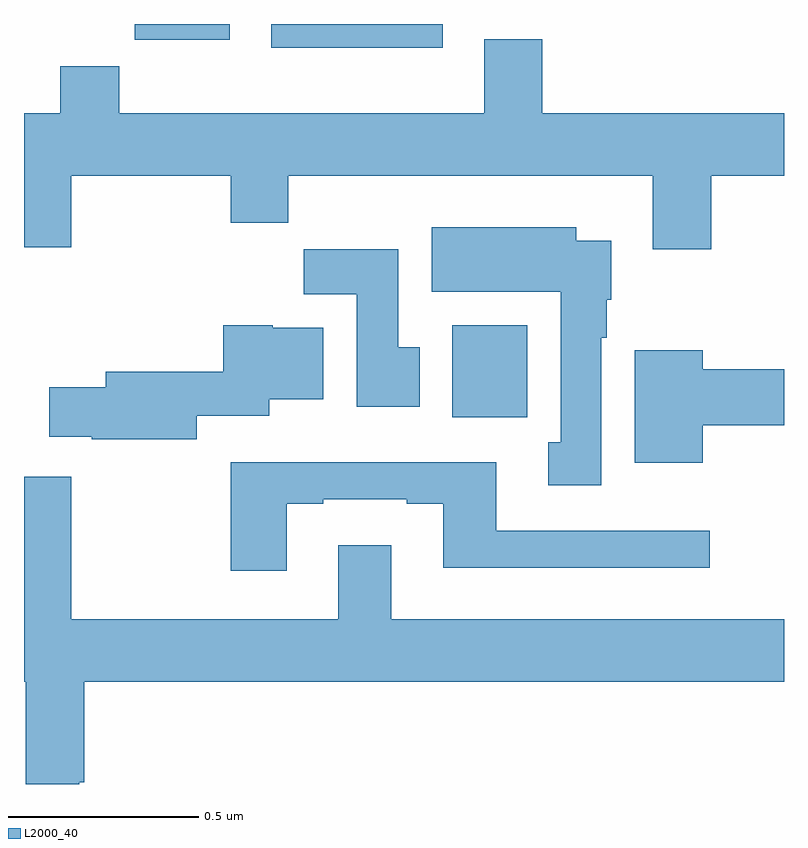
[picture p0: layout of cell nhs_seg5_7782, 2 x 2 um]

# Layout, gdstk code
import gdstk
lib = gdstk.Library(unit=1e-6, precision=1e-09)
def R(c, l, rs):  # rectangles x0, y0, x1, y1
    for r in rs: c.add(gdstk.rectangle(r[:2], r[2:], *l))
def P(c, l, *ps):  # polygons
    for p in ps: c.add(gdstk.Polygon(p, *l))
L2000_40 = (2000, 40)

nhs_seg5_7782 = lib.new_cell('nhs_seg5_7782')
R(nhs_seg5_7782, L2000_40, [(214.127,882.764,214.324,883.006), (213.651,883.736,214.102,883.799), (213.292,883.758,213.541,883.799)])
P(nhs_seg5_7782, L2000_40, [(214.808,883.4),(215,883.4),(215,883.564),(214.364,883.564),(214.364,883.759),(214.211,883.759),(214.211,883.564),(213.251,883.564),(213.251,883.688),(213.095,883.688),(213.095,883.564),(213,883.564),(213,883.212),(213.124,883.212),(213.124,883.4),(213.544,883.4),(213.544,883.276),(213.695,883.276),(213.695,883.4),(214.655,883.4),(214.655,883.206),(214.808,883.206)],
  [(214.519,882.974),(214.534,882.974),(214.534,883.074),(214.546,883.074),(214.546,883.228),(214.453,883.228),(214.453,883.264),(214.073,883.264),(214.073,883.094),(214.412,883.094),(214.412,882.698),(214.379,882.698),(214.379,882.585),(214.519,882.585)],
  [(214.042,882.948),(213.985,882.948),(213.985,883.206),(213.736,883.206),(213.736,883.088),(213.875,883.088),(213.875,882.792),(214.042,882.792)],
  [(213.454,882.768),(213.646,882.768),(213.646,882.812),(213.787,882.812),(213.787,883),(213.654,883),(213.654,883.006),(213.524,883.006),(213.524,882.884),(213.215,882.884),(213.215,882.843),(213.066,882.843),(213.066,882.713),(213.178,882.713),(213.178,882.706),(213.454,882.706)],
  [(214.786,882.743),(215,882.743),(215,882.89),(214.786,882.89),(214.786,882.94),(214.607,882.94),(214.607,882.644),(214.786,882.644)],
  [(213.691,882.537),(213.787,882.537),(213.787,882.549),(214.007,882.549),(214.007,882.537),(214.103,882.537),(214.103,882.368),(214.804,882.368),(214.804,882.465),(214.243,882.465),(214.243,882.646),(213.544,882.646),(213.544,882.36),(213.691,882.36)],
  [(213.124,882.607),(213,882.607),(213,882.068),(213.005,882.068),(213.005,881.799),(213.145,881.799),(213.145,881.803),(213.158,881.803),(213.158,882.068),(215,882.068),(215,882.232),(213.967,882.232),(213.967,882.427),(213.827,882.427),(213.827,882.232),(213.124,882.232)])

lib.write_gds('nhs_seg5_7782.gds')
